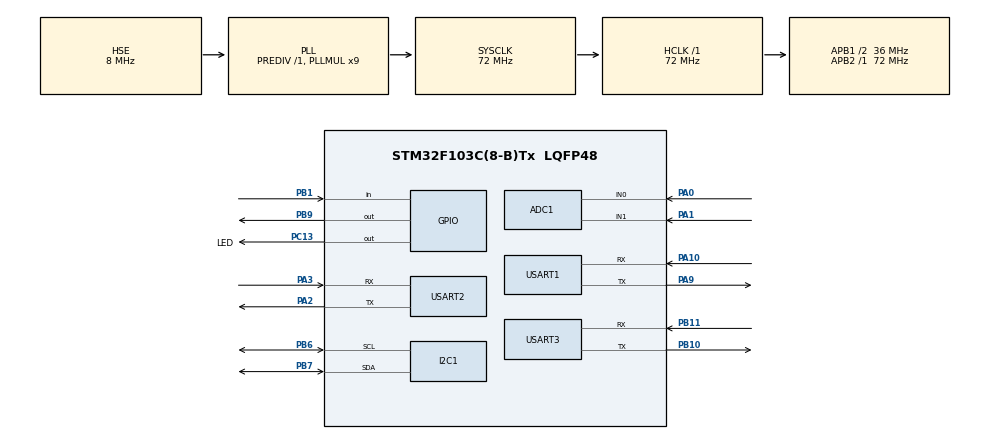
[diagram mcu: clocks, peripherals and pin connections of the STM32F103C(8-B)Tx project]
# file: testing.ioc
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ADC1.Channel-3\#ChannelRegularConversion=ADC_CHANNEL_0
ADC1.NbrOfConversionFlag=1
ADC1.Rank-3\#ChannelRegularConversion=1
ADC1.SamplingTime-3\#ChannelRegularConversion=ADC_SAMPLETIME_1CYCLE_5
ADC1.master=1
I2C1.I2C_Mode=I2C_Fast
Mcu.Family=STM32F1
Mcu.Name=STM32F103C(8-B)Tx
Mcu.Package=LQFP48
NVIC.PriorityGroup=NVIC_PRIORITYGROUP_4
NVIC.USART1_IRQn=true\:0\:0\:false\:false\:true\:true\:true\:true
NVIC.USART2_IRQn=true\:0\:0\:false\:false\:true\:true\:true\:true
PA0-WKUP.Signal=ADCx_IN0
PA1.Signal=ADCx_IN1
PA10.Mode=Asynchronous
PA10.Signal=USART1_RX
PA13.Mode=Serial_Wire
PA13.Signal=SYS_JTMS-SWDIO
PA14.Mode=Serial_Wire
PA14.Signal=SYS_JTCK-SWCLK
PA2.Mode=Asynchronous
PA2.Signal=USART2_TX
PA3.Mode=Asynchronous
PA3.Signal=USART2_RX
PA9.Mode=Asynchronous
PA9.Signal=USART1_TX
PB1.Signal=GPIO_Input
PB10.Mode=Asynchronous
PB10.Signal=USART3_TX
PB11.Mode=Asynchronous
PB11.Signal=USART3_RX
PB6.Mode=I2C
PB6.Signal=I2C1_SCL
PB7.Mode=I2C
PB7.Signal=I2C1_SDA
PB9.Signal=GPIO_Output
PC13-TAMPER-RTC.GPIO_Label=LED
PC13-TAMPER-RTC.Signal=GPIO_Output
PD0-OSC_IN.Mode=HSE-External-Oscillator
PD0-OSC_IN.Signal=RCC_OSC_IN
PD1-OSC_OUT.Mode=HSE-External-Oscillator
PD1-OSC_OUT.Signal=RCC_OSC_OUT
ProjectManager.HeapSize=0x200
ProjectManager.StackSize=0x400
ProjectManager.TargetToolchain=STM32CubeIDE
RCC.ADCPresc=RCC_ADCPCLK2_DIV6
RCC.AHBFreq_Value=72000000
RCC.APB1CLKDivider=RCC_HCLK_DIV2
RCC.APB1Freq_Value=36000000
RCC.APB1TimFreq_Value=72000000
RCC.APB2Freq_Value=72000000
RCC.APB2TimFreq_Value=72000000
RCC.HCLKFreq_Value=72000000
RCC.PLLMUL=RCC_PLL_MUL9
RCC.PLLSourceVirtual=RCC_PLLSOURCE_HSE
RCC.SYSCLKFreq_VALUE=72000000
RCC.SYSCLKSource=RCC_SYSCLKSOURCE_PLLCLK
RCC.USBFreq_Value=72000000
SH.ADCx_IN0.0=ADC1_IN0,IN0
SH.ADCx_IN1.0=ADC1_IN1,IN1
TIM1.Prescaler=71
USART1.VirtualMode=VM_ASYNC
USART2.VirtualMode=VM_ASYNC
USART3.VirtualMode=VM_ASYNC
VP_TIM1_VS_ClockSourceINT.Mode=Internal
board=custom

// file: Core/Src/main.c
/* USER CODE BEGIN Header */
/**
  ******************************************************************************
  * @file           : main.c
  * @brief          : Main program body
  ******************************************************************************
  * @attention
  *
  * Copyright (c) 2024 STMicroelectronics.
  * All rights reserved.
  *
  * This software is licensed under terms that can be found in the LICENSE file
  * in the root directory of this software component.
  * If no LICENSE file comes with this software, it is provided AS-IS.
  *
  ******************************************************************************
  */
/* USER CODE END Header */
#include "main.h"

/* USER CODE BEGIN Includes */
#include "stdio.h"
#include "string.h"
#include "MyLCD_I2C.h"
#include "dht22.h"
#include "ds3231.h"
/* USER CODE END Includes */

ADC_HandleTypeDef hadc1;

I2C_HandleTypeDef hi2c1;

TIM_HandleTypeDef htim1;

UART_HandleTypeDef huart1;
UART_HandleTypeDef huart2;
UART_HandleTypeDef huart3;

/* USER CODE BEGIN PV */
MyLCD_I2C LCD1;
/* USER CODE END PV */

void SystemClock_Config(void);
static void MX_GPIO_Init(void);
static void MX_I2C1_Init(void);
static void MX_TIM1_Init(void);
static void MX_ADC1_Init(void);
static void MX_USART1_UART_Init(void);
static void MX_USART2_UART_Init(void);
static void MX_USART3_UART_Init(void);

/* USER CODE BEGIN 0 */
//SENSOR
uint8_t state = 0;
char temp_str[20];
char temp_uart[20];
char _str[20];
float temperature = 0;
float humidity = 0;
float mq7_value = 0;
float mq135_value = 0;
uint8_t buttonPressed = 0;
//UART-2
uint8_t u8_RxData;             // Lưu ký tự nhận được
char u8_RxBuff[100];           // Buffer lưu chuỗi nhận được
uint16_t _rxIndex = 0;         // Chỉ số vị trí trong buffer
uint8_t Tx_Flag = 0;           // C�? báo hiệu sẵn sàng gửi chuỗi

DS3231_TimeTypeDef currentTime;
//char time_str[20];  // Dùng để lưu chuỗi thời gian cho LCD
void read_Button(){
	if (HAL_GPIO_ReadPin(GPIOB, GPIO_PIN_1) == GPIO_PIN_SET) {
		 	              if (!buttonPressed) {
		 	                  HAL_Delay(20); // Delay
		 	                  if (HAL_GPIO_ReadPin(GPIOB, GPIO_PIN_1) == GPIO_PIN_SET) {
		 	                      state++;
		 	                      if (state == 5) {
		 	                          state = 0; //4
		 	                      }
		 	                      buttonPressed = 1;
		 	                      MyLCD_Clear(&LCD1);
		 	                  }
		 	              }
		 	          } else {
		 	              buttonPressed = 0; // Reset
		 	          }
}

void read_mq7mq135(float *mq7_value, float *mq135_value) {
    ADC_ChannelConfTypeDef sConfig = {0};
    uint32_t raw_adc_value = 0;
    const float ADC_MAX = 4095.0f; //ADC 12-bit
    const float VREF = 3.3f;       //(3.3V)

    //MQ-7 (A0 - ADC1 Channel 0)
    sConfig.Channel = ADC_CHANNEL_0;
    sConfig.Rank = ADC_REGULAR_RANK_1;
    sConfig.SamplingTime = ADC_SAMPLETIME_55CYCLES_5;
    HAL_ADC_ConfigChannel(&hadc1, &sConfig);

    HAL_ADC_Start(&hadc1);
    HAL_ADC_PollForConversion(&hadc1, HAL_MAX_DELAY);
    raw_adc_value = HAL_ADC_GetValue(&hadc1);
    *mq7_value = (raw_adc_value / ADC_MAX) * VREF;
    HAL_ADC_Stop(&hadc1);

    //MQ-135 (A1 - ADC1 Channel 1)
    sConfig.Channel = ADC_CHANNEL_1;
    HAL_ADC_ConfigChannel(&hadc1, &sConfig);

    HAL_ADC_Start(&hadc1);
    HAL_ADC_PollForConversion(&hadc1, HAL_MAX_DELAY);
    raw_adc_value = HAL_ADC_GetValue(&hadc1);
    *mq135_value = (raw_adc_value / ADC_MAX) * VREF;
    HAL_ADC_Stop(&hadc1);
}

void lcd_read_sensor(){
     if (state == 0) {
         sprintf(temp_str, "Temp: %.2f", temperature);
     } else if (state == 1) {
         sprintf(temp_str, "Humi: %.2f", humidity);
     } else if (state == 2) {
   	  sprintf(temp_str, "Mq-7: %.2f", mq7_value);
     } else if (state == 3){
   	  sprintf(temp_str, "Mq-135: %.2f", mq135_value);
     } else if (state == 4){
   	 /* Get the current time from DS3231 */
   	 DS3231_GetTime(&hi2c1, &currentTime);
   	// Format thời gian theo chuỗi "HH:MM:SS"
   	// Lấy thời gian từ DS3231 và format lại theo chuỗi "HH:MM:SS"
   	sprintf(temp_str, "Time: %02d:%02d:%02d", currentTime.hour, currentTime.min, currentTime.sec);
     }
}

void uart_read_sensor(){
	if (Tx_Flag == 1) {
		  // Kiểm tra chuỗi nhận được và phản hồi tương ứng
		  if (strcmp((char *)u8_RxBuff, "0") == 0) {
			  sprintf(temp_uart, "Temp: %.2f\r\n", temperature); // Phản hồi state 0
		  } else if (strcmp((char *)u8_RxBuff, "1") == 0) {
			  sprintf(temp_uart, "Humi: %.2f\r\n", humidity); // Phản hồi state 1
		  } else if (strcmp((char *)u8_RxBuff, "2") == 0) {
			  sprintf(temp_uart, "Mq-7: %.2f\r\n", mq7_value); // Phản hồi state 2
		  } else if (strcmp((char *)u8_RxBuff, "3") == 0) {
			  sprintf(temp_uart, "Mq-135: %.2f\r\n", mq135_value); // Phản hồi state 3
		  } else if (strcmp((char *)u8_RxBuff, "4") == 0) {
			  sprintf(temp_uart, "State: %d\r\n", state); // Phản hồi cho state 4 hoặc thông tin khác
		  } else {
			  sprintf(temp_uart, "Invalid Command\r\n"); // Phản hồi khi lệnh không hợp lệ
		  }
		  // Gửi chuỗi phản hồi qua UART không đồng bộ (sử dụng ngắt)
		  HAL_UART_Transmit_IT(&huart2, (uint8_t *)temp_uart, strlen(temp_uart));
		  Tx_Flag = 0;
	  }

}

void HAL_UART_RxCpltCallback(UART_HandleTypeDef *huart) {
    if (huart->Instance == USART2) { // Kiểm tra nếu ngắt đến từ USART1
        if (u8_RxData != 13) { // Nếu không phải ký tự '\r'
            u8_RxBuff[_rxIndex++] = u8_RxData; // Thêm ký tự vào buffer
        } else { // Nếu nhận được ký tự '\r'
            u8_RxBuff[_rxIndex] = '\0'; // Kết thúc chuỗi
            _rxIndex = 0; // Đặt lại chỉ số buffer
            Tx_Flag = 1; // Đặt cờ để báo hiệu sẵn sàng gửi
        }
        // Tiếp tục nhận ký tự tiếp theo
        HAL_UART_Receive_IT(&huart2, &u8_RxData, 1);
    }
}

/* USER CODE END 0 */

int main(void)
{

  /* MCU Configuration--------------------------------------------------------*/

  /* Reset of all peripherals, Initializes the Flash interface and the Systick. */
  HAL_Init();

  /* Configure the system clock */
  SystemClock_Config();

  /* Initialize all configured peripherals */
  MX_GPIO_Init();
  MX_I2C1_Init();
  MX_TIM1_Init();
  MX_ADC1_Init();
  MX_USART1_UART_Init();
  MX_USART2_UART_Init();
  MX_USART3_UART_Init();
  /* USER CODE BEGIN 2 */
  HAL_UART_Receive_IT(&huart2, &u8_RxData, 1);
  char init_message[] = "hello world\r\n";
  HAL_UART_Transmit(&huart2, (uint8_t*)init_message, strlen(init_message), HAL_MAX_DELAY);
  //---------LCD---------//
  MyLCD_Init(&LCD1, &hi2c1, 0x4e, 16, 2);
  MyLCD_SetCursor(&LCD1, 0, 0);
  MyLCD_WriteString(&LCD1, "Test Sensor");
  HAL_Delay(2000);
  // Initialize the DHT22 sensor with the timer
  DHT22_Init(&htim1);
  //DS3231
  //DS3231_Init(&hi2c1);
  DS3231_TimeTypeDef currentTime;
  DS3231_GetTime(&hi2c1, &currentTime);

  /* USER CODE END 2 */

  /* Infinite loop */
  while (1)
  {

    /* USER CODE BEGIN 3 */
	  //Read Button
	  read_Button();
	  //DHT22
	  DHT22_ReadData(&temperature, &humidity);
	  //MQ7-MQ135
	  read_mq7mq135(&mq7_value, &mq135_value);
	  //lcd read and print
	  lcd_read_sensor();
	  //uar read and print
	  uart_read_sensor();

	  MyLCD_SetCursor(&LCD1, 0, 0);
	  MyLCD_WriteString(&LCD1, temp_str);
	  HAL_Delay(100);

  }
  /* USER CODE END 3 */
}

void SystemClock_Config(void)
{
  RCC_OscInitTypeDef RCC_OscInitStruct = {0};
  RCC_ClkInitTypeDef RCC_ClkInitStruct = {0};
  RCC_PeriphCLKInitTypeDef PeriphClkInit = {0};

  /** Initializes the RCC Oscillators according to the specified parameters
  * in the RCC_OscInitTypeDef structure.
  */
  RCC_OscInitStruct.OscillatorType = RCC_OSCILLATORTYPE_HSE;
  RCC_OscInitStruct.HSEState = RCC_HSE_ON;
  RCC_OscInitStruct.HSEPredivValue = RCC_HSE_PREDIV_DIV1;
  RCC_OscInitStruct.HSIState = RCC_HSI_ON;
  RCC_OscInitStruct.PLL.PLLState = RCC_PLL_ON;
  RCC_OscInitStruct.PLL.PLLSource = RCC_PLLSOURCE_HSE;
  RCC_OscInitStruct.PLL.PLLMUL = RCC_PLL_MUL9;
  if (HAL_RCC_OscConfig(&RCC_OscInitStruct) != HAL_OK)
  {
    Error_Handler();
  }

  /** Initializes the CPU, AHB and APB buses clocks
  */
  RCC_ClkInitStruct.ClockType = RCC_CLOCKTYPE_HCLK|RCC_CLOCKTYPE_SYSCLK
                              |RCC_CLOCKTYPE_PCLK1|RCC_CLOCKTYPE_PCLK2;
  RCC_ClkInitStruct.SYSCLKSource = RCC_SYSCLKSOURCE_PLLCLK;
  RCC_ClkInitStruct.AHBCLKDivider = RCC_SYSCLK_DIV1;
  RCC_ClkInitStruct.APB1CLKDivider = RCC_HCLK_DIV2;
  RCC_ClkInitStruct.APB2CLKDivider = RCC_HCLK_DIV1;

  if (HAL_RCC_ClockConfig(&RCC_ClkInitStruct, FLASH_LATENCY_2) != HAL_OK)
  {
    Error_Handler();
  }
  PeriphClkInit.PeriphClockSelection = RCC_PERIPHCLK_ADC;
  PeriphClkInit.AdcClockSelection = RCC_ADCPCLK2_DIV6;
  if (HAL_RCCEx_PeriphCLKConfig(&PeriphClkInit) != HAL_OK)
  {
    Error_Handler();
  }
}

static void MX_ADC1_Init(void)
{

  ADC_ChannelConfTypeDef sConfig = {0};

  /** Common config
  */
  hadc1.Instance = ADC1;
  hadc1.Init.ScanConvMode = ADC_SCAN_DISABLE;
  hadc1.Init.ContinuousConvMode = DISABLE;
  hadc1.Init.DiscontinuousConvMode = DISABLE;
  hadc1.Init.ExternalTrigConv = ADC_SOFTWARE_START;
  hadc1.Init.DataAlign = ADC_DATAALIGN_RIGHT;
  hadc1.Init.NbrOfConversion = 1;
  if (HAL_ADC_Init(&hadc1) != HAL_OK)
  {
    Error_Handler();
  }

  /** Configure Regular Channel
  */
  sConfig.Channel = ADC_CHANNEL_0;
  sConfig.Rank = ADC_REGULAR_RANK_1;
  sConfig.SamplingTime = ADC_SAMPLETIME_1CYCLE_5;
  if (HAL_ADC_ConfigChannel(&hadc1, &sConfig) != HAL_OK)
  {
    Error_Handler();
  }

}

static void MX_I2C1_Init(void)
{

  hi2c1.Instance = I2C1;
  hi2c1.Init.ClockSpeed = 400000;
  hi2c1.Init.DutyCycle = I2C_DUTYCYCLE_2;
  hi2c1.Init.OwnAddress1 = 0;
  hi2c1.Init.AddressingMode = I2C_ADDRESSINGMODE_7BIT;
  hi2c1.Init.DualAddressMode = I2C_DUALADDRESS_DISABLE;
  hi2c1.Init.OwnAddress2 = 0;
  hi2c1.Init.GeneralCallMode = I2C_GENERALCALL_DISABLE;
  hi2c1.Init.NoStretchMode = I2C_NOSTRETCH_DISABLE;
  if (HAL_I2C_Init(&hi2c1) != HAL_OK)
  {
    Error_Handler();
  }

}

static void MX_TIM1_Init(void)
{

  TIM_ClockConfigTypeDef sClockSourceConfig = {0};
  TIM_MasterConfigTypeDef sMasterConfig = {0};

  htim1.Instance = TIM1;
  htim1.Init.Prescaler = 71;
  htim1.Init.CounterMode = TIM_COUNTERMODE_UP;
  htim1.Init.Period = 65535;
  htim1.Init.ClockDivision = TIM_CLOCKDIVISION_DIV1;
  htim1.Init.RepetitionCounter = 0;
  htim1.Init.AutoReloadPreload = TIM_AUTORELOAD_PRELOAD_DISABLE;
  if (HAL_TIM_Base_Init(&htim1) != HAL_OK)
  {
    Error_Handler();
  }
  sClockSourceConfig.ClockSource = TIM_CLOCKSOURCE_INTERNAL;
  if (HAL_TIM_ConfigClockSource(&htim1, &sClockSourceConfig) != HAL_OK)
  {
    Error_Handler();
  }
  sMasterConfig.MasterOutputTrigger = TIM_TRGO_RESET;
  sMasterConfig.MasterSlaveMode = TIM_MASTERSLAVEMODE_DISABLE;
  if (HAL_TIMEx_MasterConfigSynchronization(&htim1, &sMasterConfig) != HAL_OK)
  {
    Error_Handler();
  }

}

static void MX_USART1_UART_Init(void)
{

  huart1.Instance = USART1;
  huart1.Init.BaudRate = 115200;
  huart1.Init.WordLength = UART_WORDLENGTH_8B;
  huart1.Init.StopBits = UART_STOPBITS_1;
  huart1.Init.Parity = UART_PARITY_NONE;
  huart1.Init.Mode = UART_MODE_TX_RX;
  huart1.Init.HwFlowCtl = UART_HWCONTROL_NONE;
  huart1.Init.OverSampling = UART_OVERSAMPLING_16;
  if (HAL_UART_Init(&huart1) != HAL_OK)
  {
    Error_Handler();
  }

}

static void MX_USART2_UART_Init(void)
{

  huart2.Instance = USART2;
  huart2.Init.BaudRate = 115200;
  huart2.Init.WordLength = UART_WORDLENGTH_8B;
  huart2.Init.StopBits = UART_STOPBITS_1;
  huart2.Init.Parity = UART_PARITY_NONE;
  huart2.Init.Mode = UART_MODE_TX_RX;
  huart2.Init.HwFlowCtl = UART_HWCONTROL_NONE;
  huart2.Init.OverSampling = UART_OVERSAMPLING_16;
  if (HAL_UART_Init(&huart2) != HAL_OK)
  {
    Error_Handler();
  }

}

static void MX_USART3_UART_Init(void)
{

  huart3.Instance = USART3;
  huart3.Init.BaudRate = 115200;
  huart3.Init.WordLength = UART_WORDLENGTH_8B;
  huart3.Init.StopBits = UART_STOPBITS_1;
  huart3.Init.Parity = UART_PARITY_NONE;
  huart3.Init.Mode = UART_MODE_TX_RX;
  huart3.Init.HwFlowCtl = UART_HWCONTROL_NONE;
  huart3.Init.OverSampling = UART_OVERSAMPLING_16;
  if (HAL_UART_Init(&huart3) != HAL_OK)
  {
    Error_Handler();
  }

}

static void MX_GPIO_Init(void)
{
  GPIO_InitTypeDef GPIO_InitStruct = {0};

  /* GPIO Ports Clock Enable */
  __HAL_RCC_GPIOC_CLK_ENABLE();
  __HAL_RCC_GPIOD_CLK_ENABLE();
  __HAL_RCC_GPIOA_CLK_ENABLE();
  __HAL_RCC_GPIOB_CLK_ENABLE();

  /*Configure GPIO pin Output Level */
  HAL_GPIO_WritePin(LED_GPIO_Port, LED_Pin, GPIO_PIN_RESET);

  /*Configure GPIO pin Output Level */
  HAL_GPIO_WritePin(GPIOB, GPIO_PIN_9, GPIO_PIN_RESET);

  /*Configure GPIO pin : LED_Pin */
  GPIO_InitStruct.Pin = LED_Pin;
  GPIO_InitStruct.Mode = GPIO_MODE_OUTPUT_PP;
  GPIO_InitStruct.Pull = GPIO_NOPULL;
  GPIO_InitStruct.Speed = GPIO_SPEED_FREQ_LOW;
  HAL_GPIO_Init(LED_GPIO_Port, &GPIO_InitStruct);

  /*Configure GPIO pin : PB1 */
  GPIO_InitStruct.Pin = GPIO_PIN_1;
  GPIO_InitStruct.Mode = GPIO_MODE_INPUT;
  GPIO_InitStruct.Pull = GPIO_NOPULL;
  HAL_GPIO_Init(GPIOB, &GPIO_InitStruct);

  /*Configure GPIO pin : PB9 */
  GPIO_InitStruct.Pin = GPIO_PIN_9;
  GPIO_InitStruct.Mode = GPIO_MODE_OUTPUT_PP;
  GPIO_InitStruct.Pull = GPIO_NOPULL;
  GPIO_InitStruct.Speed = GPIO_SPEED_FREQ_LOW;
  HAL_GPIO_Init(GPIOB, &GPIO_InitStruct);

}

void Error_Handler(void)
{
  __disable_irq();
  while (1)
  {
  }
}
